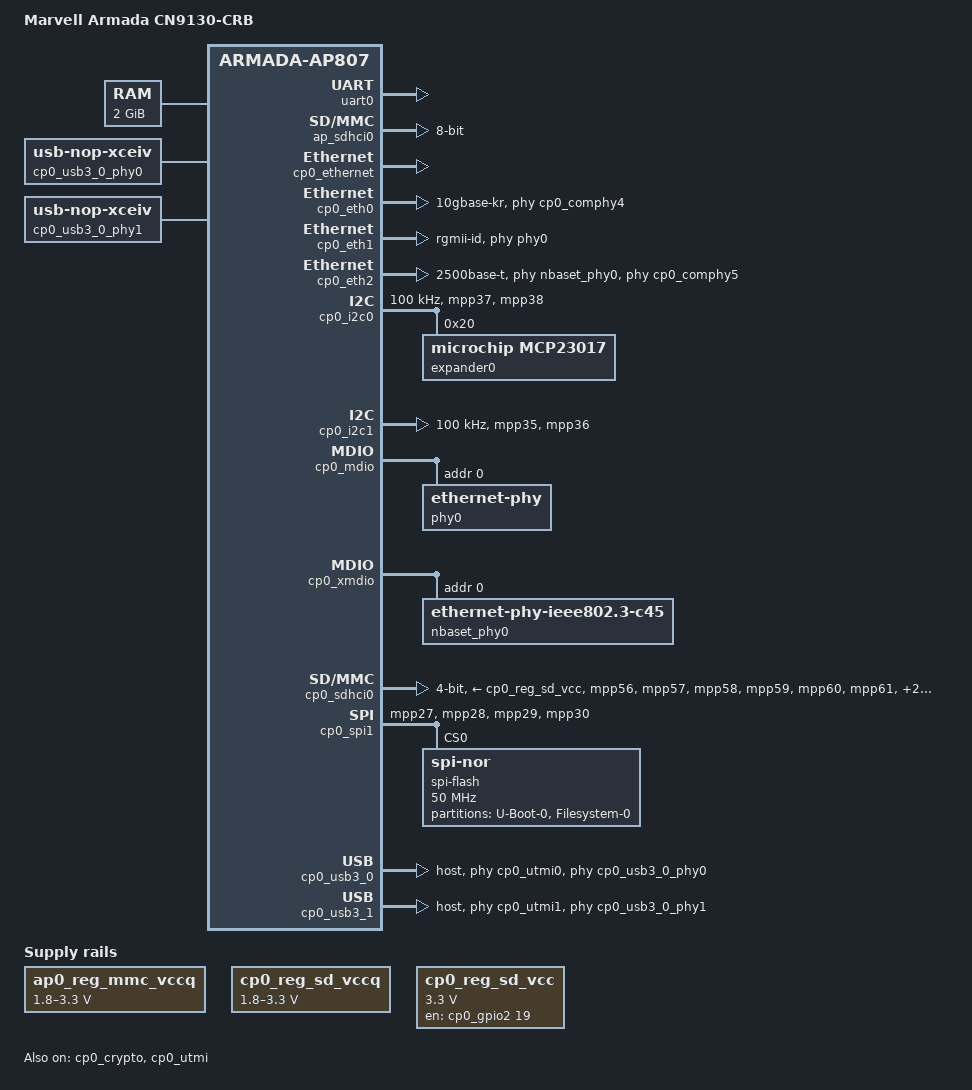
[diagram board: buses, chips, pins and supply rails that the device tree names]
// SPDX-License-Identifier: (GPL-2.0+ OR MIT)
/*
 * Copyright (C) 2021 Marvell International Ltd.
 *
 * Device tree for the CN9130-CRB boards.
 */

#include "cn9130.dtsi"

#include <dt-bindings/gpio/gpio.h>

/ {
	model = "Marvell Armada CN9130-CRB";
	compatible = "marvell,cn9130-crb", "marvell,armada-ap807-quad",
					"marvell,armada-ap807";

	chosen {
		stdout-path = "serial0:115200n8";
	};

	ap0_reg_mmc_vccq: ap0_mmc_vccq@0 {
		compatible = "regulator-gpio";
		regulator-name = "ap0_mmc_vccq";
		regulator-min-microvolt = <1800000>;
		regulator-max-microvolt = <3300000>;
		gpios = <&expander0 5 GPIO_ACTIVE_HIGH>;
		states = <1800000 0x1
			  3300000 0x0>;
	};

	aliases {
		gpio1 = &cp0_gpio1;
		gpio2 = &cp0_gpio2;
		i2c0 = &cp0_i2c0;
		ethernet0 = &cp0_eth0;
		ethernet1 = &cp0_eth1;
		ethernet2 = &cp0_eth2;
		spi1 = &cp0_spi0;
		spi2 = &cp0_spi1;
	};

	memory@00000000 {
		device_type = "memory";
		reg = <0x0 0x0 0x0 0x80000000>;
	};

	cp0_usb3_0_phy0: cp0_usb3_phy@0 {
		compatible = "usb-nop-xceiv";
	};


	cp0_usb3_0_phy1: cp0_usb3_phy@1 {
		compatible = "usb-nop-xceiv";
	};

	cp0_reg_sd_vccq: cp0_sd_vccq@0 {
		compatible = "regulator-gpio";
		regulator-name = "cp0_sd_vccq";
		regulator-min-microvolt = <1800000>;
		regulator-max-microvolt = <3300000>;
		gpios = <&cp0_gpio2 18 GPIO_ACTIVE_HIGH>;
		states = <1800000 0x1
			  3300000 0x0>;
	};

	cp0_reg_sd_vcc: cp0_sd_vcc@0 {
		compatible = "regulator-fixed";
		regulator-name = "cp0_sd_vcc";
		regulator-min-microvolt = <3300000>;
		regulator-max-microvolt = <3300000>;
		gpio = <&cp0_gpio2 19 GPIO_ACTIVE_HIGH>;
		enable-active-high;
		regulator-always-on;
	};
};

&uart0 {
	status = "okay";
};

/* on-board eMMC - U9 */
&ap_sdhci0 {
	pinctrl-names = "default";
	bus-width = <8>;
	vqmmc-supply = <&ap0_reg_mmc_vccq>;
	mmc-ddr-1_8v;
	status = "okay";
};

&cp0_crypto {
	status = "okay";
};

&cp0_ethernet {
	status = "okay";
};

&cp0_eth0 {
	status = "okay";
	phy-mode = "10gbase-kr";
	/* Generic PHY, providing serdes lanes */
	phys = <&cp0_comphy4 0>;
	managed = "in-band-status";
};

/* CON56 */
&cp0_eth1 {
	status = "okay";
	phy = <&phy0>;
	phy-mode = "rgmii-id";
};

/* CON57 */
&cp0_eth2 {
	status = "okay";
	phy = <&nbaset_phy0>;
	phy-mode = "2500base-t";
	phys = <&cp0_comphy5 0x2>;
};

&cp0_gpio1 {
	status = "okay";
};

&cp0_gpio2 {
	status = "okay";
};

&cp0_i2c0 {
	status = "okay";
	pinctrl-names = "default";
	pinctrl-0 = <&cp0_i2c0_pins>;
	clock-frequency = <100000>;

	expander0: mcp23x17@20 {
		compatible = "microchip,mcp23017";
		pinctrl-names = "default";
		gpio-controller;
		#gpio-cells = <2>;
		reg = <0x20>;
		status = "okay";
	};
};

&cp0_i2c1 {
	status = "okay";
	pinctrl-names = "default";
	pinctrl-0 = <&cp0_i2c1_pins>;
	clock-frequency = <100000>;
};

&cp0_mdio {
	status = "okay";
	phy0: ethernet-phy@0 {
		reg = <0>;
	};

};

&cp0_xmdio {
	status = "okay";
	nbaset_phy0: ethernet-phy@0 {
		compatible = "ethernet-phy-ieee802.3-c45";
		reg = <0>;
	};
};

/* CON 28 */
&cp0_sdhci0 {
	status = "okay";
	pinctrl-names = "default";
	pinctrl-0 = <&cp0_sdhci_pins
		     &cp0_sdhci_cd_pins_crb>;
	bus-width = <4>;
	cd-gpios = <&cp0_gpio2 23 GPIO_ACTIVE_HIGH>;
	vqmmc-supply = <&cp0_reg_sd_vccq>;
	vmmc-supply = <&cp0_reg_sd_vcc>;
};

/* U55 */
&cp0_spi1 {
	status = "okay";
	pinctrl-names = "default";
	pinctrl-0 = <&cp0_spi0_pins_crb>;
	reg = <0x700680 0x50>;

	spi-flash@0 {
		#address-cells = <0x1>;
		#size-cells = <0x1>;
		compatible = "jedec,spi-nor";
		reg = <0x0>;
		spi-max-frequency = <50000000>;

		partitions {
			compatible = "fixed-partitions";
			#address-cells = <1>;
			#size-cells = <1>;

			partition@0 {
				label = "U-Boot-0";
				reg = <0x0 0x200000>;
			};

			partition@200000 {
				label = "Filesystem-0";
				reg = <0x200000 0xe00000>;
			};
		};
	};
};

&cp0_pinctrl {
	compatible = "marvell,cp115-standalone-pinctrl";

	cp0_i2c0_pins: cp0-i2c-pins-0 {
		marvell,pins = "mpp37", "mpp38";
		marvell,function = "i2c0";
	};
	cp0_i2c1_pins: cp0-i2c-pins-1 {
		marvell,pins = "mpp35", "mpp36";
		marvell,function = "i2c1";
	};
	cp0_ge1_rgmii_pins: cp0-ge-rgmii-pins-0 {
		marvell,pins = "mpp0", "mpp1", "mpp2",
			       "mpp3", "mpp4", "mpp5",
			       "mpp6", "mpp7", "mpp8",
			       "mpp9", "mpp10", "mpp11";
		marvell,function = "ge0";
	};
	cp0_ge2_rgmii_pins: cp0-ge-rgmii-pins-1 {
		marvell,pins = "mpp44", "mpp45", "mpp46",
			       "mpp47", "mpp48", "mpp49",
			       "mpp50", "mpp51", "mpp52",
			       "mpp53", "mpp54", "mpp55";
		marvell,function = "ge1";
	};
	cp0_sdhci_cd_pins: cp0-sdhci-cd-pins-0 {
		marvell,pins = "mpp43";
		marvell,function = "gpio";
	};
	cp0_sdhci_pins: cp0-sdhi-pins-0 {
		marvell,pins = "mpp56", "mpp57", "mpp58",
			       "mpp59", "mpp60", "mpp61";
		marvell,function = "sdio";
	};
	cp0_spi0_pins: cp0-spi-pins-0 {
		marvell,pins = "mpp13", "mpp14", "mpp15", "mpp16";
		marvell,function = "spi1";
	};
	cp0_sdhci_cd_pins_crb: cp0-sdhci-cd-pins-crb {
		marvell,pins = "mpp55";
		marvell,function = "gpio";
	};
	cp0_spi0_pins_crb: cp0-spi-pins-crb {
		marvell,pins = "mpp27", "mpp28", "mpp29", "mpp30";
		marvell,function = "spi1";
	};
};

&cp0_utmi {
	status = "okay";
};

&cp0_usb3_0 {
	status = "okay";
	usb-phy = <&cp0_usb3_0_phy0>;
	phys = <&cp0_utmi0>;
	phy-names = "utmi";
	dr_mode = "host";
};

&cp0_usb3_1 {
	status = "okay";
	usb-phy = <&cp0_usb3_0_phy1>;
	phys = <&cp0_utmi1>;
	phy-names = "utmi";
	dr_mode = "host";
};
